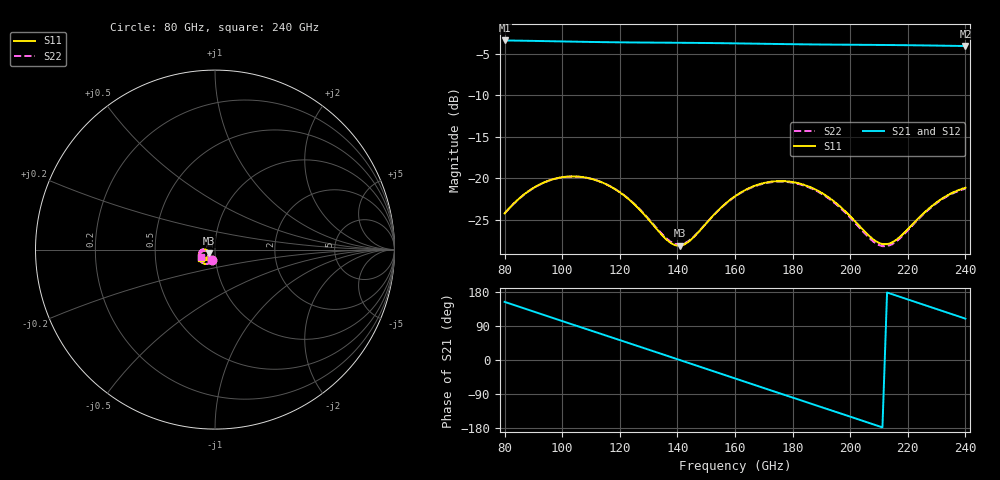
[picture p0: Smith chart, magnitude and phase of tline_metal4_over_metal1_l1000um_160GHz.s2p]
#  GHZ S DB R 50
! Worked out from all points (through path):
!   101 points, 80 GHz to 240 GHz, reference 50 ohm
!   highest |S21| = -3.37 dB at 80 GHz (marker M1); lowest = -4.0 dB at 240 GHz (marker M2)
!   group delay of S21, straight-line fit = 7.01 ps
!   lowest |S11| = -28.1 dB at 140.8 GHz (marker M3), VSWR 1.08, Z = 46.7 - j1.91 ohm
!   |S11| at or under -10 dB: start of sweep to end of sweep
!   |S22| runs from -28.2 to -19.8 dB; largest |S21 - S12| = 7.3e-14
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80  -24.20 -107.1  -3.37 153.3  -3.37 153.3  -24.20 -108.3
88  -21.60 -113.5  -3.42 133.1  -3.42 133.1  -21.62 -114.3
94.4  -20.37 -123.4  -3.45 116.9  -3.45 116.9  -20.40 -124.0
100.8  -19.81 -134.8  -3.50 100.7  -3.50 100.7  -19.82 -135.3
107.2  -19.84 -146.5  -3.54 84.6  -3.54 84.6  -19.84 -146.9
113.6  -20.44 -157.6  -3.57 68.6  -3.57 68.6  -20.44 -157.9
120  -21.66 -167.0  -3.60 52.5  -3.60 52.5  -21.64 -167.2
128  -24.15 -173.2  -3.62 32.4  -3.62 32.4  -24.09 -173.4
134.4  -26.72 -168.1  -3.64 16.2  -3.64 16.2  -26.60 -168.5
140.8  -28.10 -148.7  -3.65 0.1  -3.65 0.1  -27.97 -149.8
150.4  -25.24 -127.1  -3.68 -24.3  -3.68 -24.3  -25.23 -128.6
160  -22.14 -131.3  -3.72 -48.6  -3.72 -48.6  -22.18 -132.5
168  -20.74 -142.0  -3.77 -68.9  -3.77 -68.9  -20.80 -143.1
174.4  -20.32 -152.0  -3.80 -85.0  -3.80 -85.0  -20.39 -153.1
180.8  -20.48 -162.1  -3.83 -101.1  -3.83 -101.1  -20.56 -163.2
187.2  -21.21 -171.5  -3.85 -117.3  -3.85 -117.3  -21.31 -172.6
201.6  -25.12 179.1  -3.89 -153.6  -3.89 -153.6  -25.31 178.0
209.6  -27.70 -166.7  -3.91 -173.8  -3.91 -173.8  -27.96 -167.2
214.4  -27.73 -151.2  -3.93 174.0  -3.93 174.0  -27.95 -151.2
225.6  -24.15 -136.0  -3.97 145.6  -3.97 145.6  -24.26 -136.2
233.6  -22.06 -141.5  -4.01 125.4  -4.01 125.4  -22.16 -142.0
240  -21.12 -149.4  -4.05 109.2  -4.05 109.2  -21.23 -150.2
